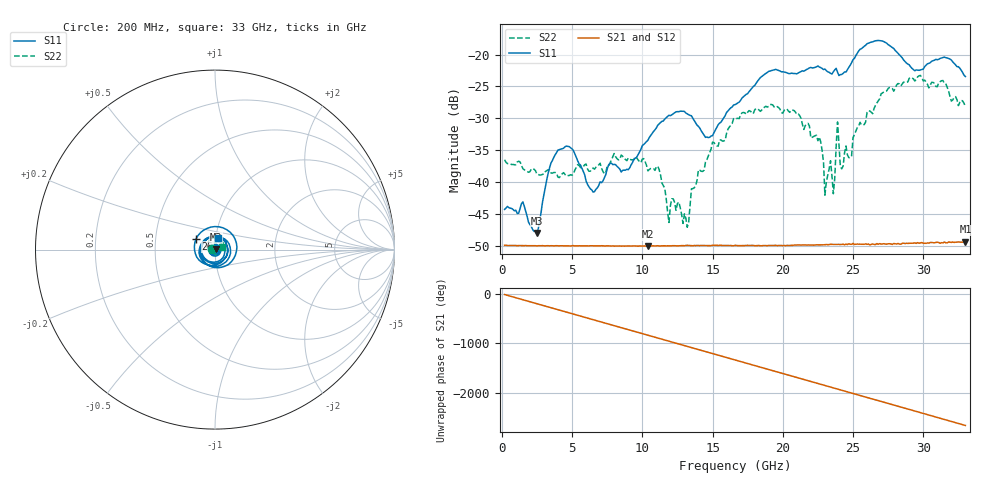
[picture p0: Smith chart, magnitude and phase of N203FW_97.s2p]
# GHZ S RI R 50
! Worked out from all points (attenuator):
!   329 points, 200 MHz to 33 GHz, reference 50 ohm
!   highest |S21| = -49.40 dB at 33 GHz (marker M1); lowest = -50.1 dB at 10.4 GHz (marker M2)
!   lowest |S11| = -48.0 dB at 2.5 GHz (marker M3), VSWR 1.01, Z = 50.4 + j0.179 ohm
!   |S11| at or under -10 dB: start of sweep to end of sweep
!   |S22| runs from -47.1 to -23.3 dB; largest |S21 - S12| = 8.8e-05
!   S11 on the Smith chart (normalised r, x): 200 MHz: 1.01, +0.00; 26 GHz: 0.80, +0.10; 33 GHz: 1.03, +0.13
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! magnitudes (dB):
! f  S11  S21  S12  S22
! 200 MHz  -44.3  -50.0  -49.9  -36.5
! 2.5 GHz  -48.0  -50.1  -50.0  -38.8
! 4 GHz  -35.0  -50.0  -50.0  -39.3
! 5.7 GHz  -37.8  -50.0  -50.0  -37.7
! 6.6 GHz  -41.5  -50.1  -50.0  -38.0
! 10.4 GHz  -33.5  -50.1  -50.1  -38.3
! 11.2 GHz  -30.9  -50.1  -50.0  -38.1
! 11.9 GHz  -29.5  -50.0  -50.0  -46.4
! 12.2 GHz  -29.3  -50.0  -50.0  -42.7
! 13.2 GHz  -29.3  -50.0  -50.0  -47.1
! 14 GHz  -31.3  -50.0  -50.0  -38.1
! 16.6 GHz  -27.9  -50.0  -50.0  -30.0
! 22.1 GHz  -22.1  -49.9  -49.9  -33.0
! 22.7 GHz  -22.0  -49.9  -49.8  -33.7
! 23 GHz  -22.3  -49.9  -49.8  -42.1
! 23.4 GHz  -22.9  -49.8  -49.8  -36.7
! 23.6 GHz  -22.7  -49.8  -49.8  -41.9
! 23.9 GHz  -22.8  -49.8  -49.8  -30.6
! 24.2 GHz  -23.1  -49.8  -49.8  -37.9
! 26 GHz  -18.3  -49.8  -49.8  -29.1
! 27.6 GHz  -18.6  -49.7  -49.7  -25.2
! 33 GHz  -23.4  -49.4  -49.4  -28.2
